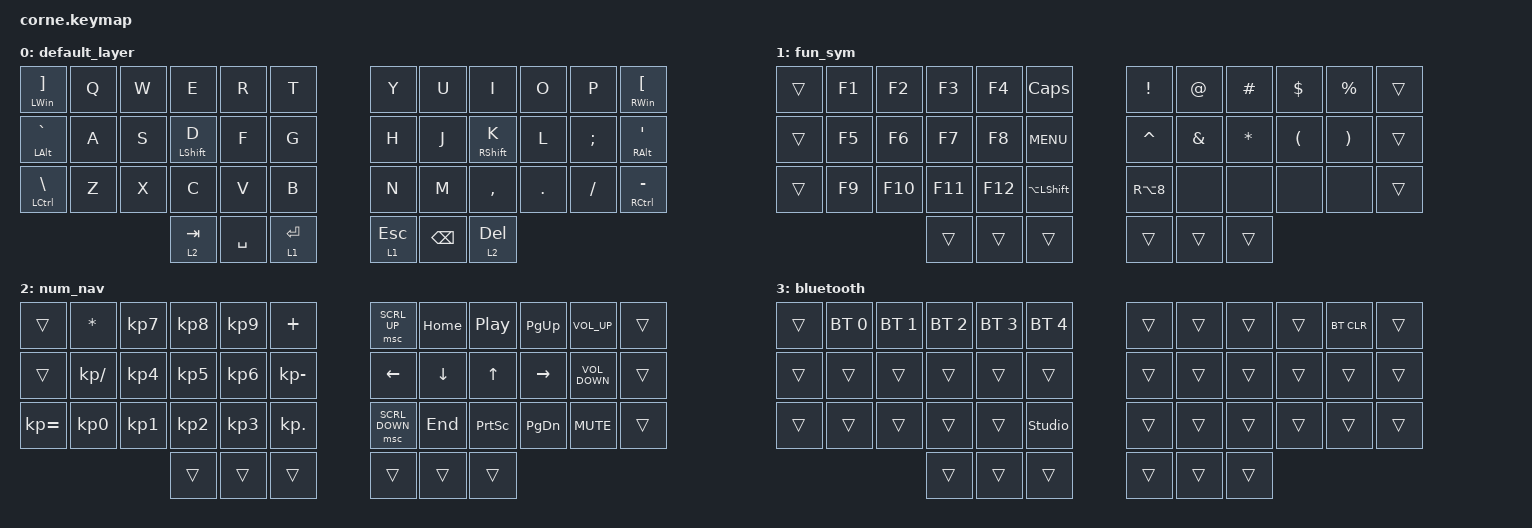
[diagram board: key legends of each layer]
/*
 * Copyright (c) 2020 The ZMK Contributors
 *
 * SPDX-License-Identifier: MIT
 */

#include <behaviors.dtsi>
#include <dt-bindings/zmk/bt.h>
#include <dt-bindings/zmk/keys.h>
#include <dt-bindings/zmk/pointing.h>

/ {
    combos {
        compatible = "zmk,combos";

        Bluetooth {
            bindings = <&mo 3>;
            key-positions = <37 40>;
        };

        CapsWord {
            bindings = <&caps_word>;
            key-positions = <14 15 20 21>;
        };
    };

    behaviors {
        hml: hml {
            compatible = "zmk,behavior-hold-tap";
            label = "HOME_ROW_LEFT";
            bindings = <&kp>, <&kp>;

            #binding-cells = <2>;
            tapping-term-ms = <180>;
            quick-tap-ms = <175>;
            require-prior-idle-ms = <150>;
            flavor = "balanced";
            hold-trigger-key-positions = <6 7 8 9 10 11 18 19 20 21 22 23 30 31 32 33 34 35>;
            hold-trigger-on-release;
        };

        hmr: hmr {
            compatible = "zmk,behavior-hold-tap";
            label = "HOME_ROW_RIGHT";
            bindings = <&kp>, <&kp>;

            #binding-cells = <2>;
            tapping-term-ms = <180>;
            quick-tap-ms = <175>;
            require-prior-idle-ms = <150>;
            flavor = "balanced";
            hold-trigger-key-positions = <0 1 2 3 4 5 12 13 14 15 16 17 24 25 26 27 28 29>;
            hold-trigger-on-release;
        };
    };

    keymap {
        compatible = "zmk,keymap";

        default_layer {
            bindings = <
&hml LEFT_WIN RIGHT_BRACKET  &kp Q  &kp W  &kp E              &kp R      &kp T          &kp Y         &kp U          &kp I               &kp O    &kp P      &hmr RIGHT_WIN LEFT_BRACKET
&hml LEFT_ALT GRAVE          &kp A  &kp S  &hml LEFT_SHIFT D  &kp F      &kp G          &kp H         &kp J          &hmr RIGHT_SHIFT K  &kp L    &kp SEMI   &hmr RIGHT_ALT SQT
&hml LCTRL BACKSLASH         &kp Z  &kp X  &kp C              &kp V      &kp B          &kp N         &kp M          &kp COMMA           &kp DOT  &kp SLASH  &hmr RCTRL MINUS
                                           &lt 2 TAB          &kp SPACE  &lt 1 ENTER    &lt 1 ESCAPE  &kp BACKSPACE  &lt 2 DELETE
            >;
        };

        fun_sym {
            bindings = <
&trans  &kp F1  &kp F2   &kp F3   &kp F4   &kp CAPSLOCK          &kp EXCLAMATION  &kp AT_SIGN    &kp HASH      &kp DOLLAR            &kp PERCENT            &trans
&trans  &kp F5  &kp F6   &kp F7   &kp F8   &kp C_MENU            &kp CARET        &kp AMPERSAND  &kp ASTERISK  &kp LEFT_PARENTHESIS  &kp RIGHT_PARENTHESIS  &trans
&trans  &kp F9  &kp F10  &kp F11  &kp F12  &kp LA(LEFT_SHIFT)    &kp RA(N8)       &none          &none         &none                 &none                  &trans
                         &trans   &trans   &trans                &trans           &trans         &trans
            >;
        };

        num_nav {
            bindings = <
&trans        &kp ASTERISK     &kp KP_NUMBER_7  &kp KP_NUMBER_8  &kp KP_NUMBER_9  &kp PLUS        &msc SCRL_UP    &kp HOME  &kp C_PLAY_PAUSE  &kp PAGE_UP      &kp C_VOLUME_UP    &trans
&trans        &kp KP_DIVIDE    &kp KP_NUMBER_4  &kp KP_NUMBER_5  &kp KP_NUMBER_6  &kp KP_MINUS    &kp LEFT        &kp DOWN  &kp UP_ARROW      &kp RIGHT_ARROW  &kp C_VOLUME_DOWN  &trans
&kp KP_EQUAL  &kp KP_NUMBER_0  &kp KP_NUMBER_1  &kp KP_NUMBER_2  &kp KP_NUMBER_3  &kp KP_DOT      &msc SCRL_DOWN  &kp END   &kp PRINTSCREEN   &kp PAGE_DOWN    &kp C_MUTE         &trans
                                                &trans           &trans           &trans          &trans          &trans    &trans
            >;
        };

        bluetooth {
            bindings = <
&trans  &bt BT_SEL 0  &bt BT_SEL 1  &bt BT_SEL 2  &bt BT_SEL 3  &bt BT_SEL 4      &trans  &trans  &trans  &trans  &bt BT_CLR  &trans
&trans  &trans        &trans        &trans        &trans        &trans            &trans  &trans  &trans  &trans  &trans      &trans
&trans  &trans        &trans        &trans        &trans        &studio_unlock    &trans  &trans  &trans  &trans  &trans      &trans
                                    &trans        &trans        &trans            &trans  &trans  &trans
            >;
        };
    };
};
